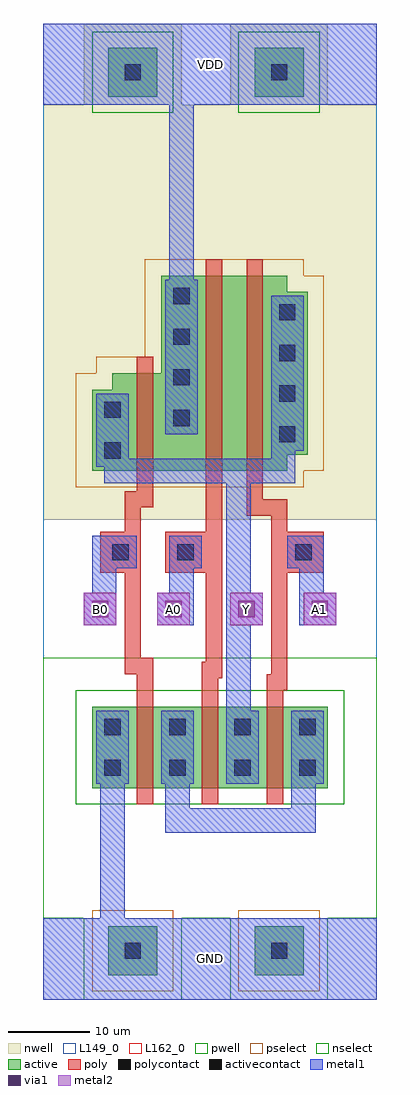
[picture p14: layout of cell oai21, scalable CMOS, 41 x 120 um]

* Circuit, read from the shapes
.subckt oai21 A0 A1 B0 GND VDD Y
M1 n1 B0 GND GND nfet w=10u l=2u
M2 Y A0 n1 GND nfet w=10u l=2u
M3 n1 A1 Y GND nfet w=10u l=2u
M4 VDD B0 Y VDD pfet w=12u l=2u
M5 n2 A0 VDD VDD pfet w=24u l=2u
M6 Y A1 n2 VDD pfet w=24u l=2u
.ends

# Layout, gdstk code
import gdstk
lib = gdstk.Library(unit=1e-6, precision=1e-09)
def R(c, l, rs):  # rectangles x0, y0, x1, y1
    for r in rs: c.add(gdstk.rectangle(r[:2], r[2:], *l))
def A(c, l, x, y, w, h, nx, ny, dx, dy):  # array of equal rectangles
    R(c, l, [(x+i*dx, y+j*dy, x+i*dx+w, y+j*dy+h) for i in range(nx) for j in range(ny)])
def P(c, l, *ps):  # polygons
    for p in ps: c.add(gdstk.Polygon(p, *l))
pwell = (41, 0)
nwell = (42, 0)
active = (43, 0)
pselect = (44, 0)
nselect = (45, 0)
poly = (46, 0)
polycontact = (47, 0)
activecontact = (48, 0)
metal1 = (49, 0)
via1 = (50, 0)
metal2 = (51, 0)
L149_0 = (149, 0)
L162_0 = (162, 0)

pwell_contact = lib.new_cell('pwell_contact')
R(pwell_contact, pwell, [(-6,-6,6,5)])
R(pwell_contact, active, [(-3,-3,3,3)])
R(pwell_contact, pselect, [(-5,-5,5,5)])
R(pwell_contact, activecontact, [(-1,-1,1,1)])

nwell_contact = lib.new_cell('nwell_contact')
R(nwell_contact, nwell, [(-6,-5,6,6)])
R(nwell_contact, active, [(-3,-3,3,3)])
R(nwell_contact, nselect, [(-5,-5,5,5)])
R(nwell_contact, activecontact, [(-1,-1,1,1)])

via = lib.new_cell('via')
R(via, metal1, [(-2,-2,2,2)])
R(via, via1, [(-1,-1,1,1)])
R(via, metal2, [(-2,-2,2,2)])

oai21 = lib.new_cell('oai21')
R(oai21, pwell, [(0,10,41,20), (0,10,41,42), (0,20,41,42)])
R(oai21, nwell, [(0,59,41,110), (0,95,41,110)])
P(oai21, nwell, [(0,59),(0,81),(2.5,81),(2.5,83),(8.5,83),(8.5,95),(36,95),(36,93),(38.5,93),(38.5,61),(36,61),(36,59)])
R(oai21, active, [(6,26,35,36)])
P(oai21, active, [(6,65),(6,75),(8.5,75),(8.5,77),(14.5,77),(14.5,89),(30,89),(30,87),(32.5,87),(32.5,67),(30,67),(30,65)])
P(oai21, pselect, [(4,63),(4,77),(6.5,77),(6.5,79),(12.5,79),(12.5,91),(32,91),(32,89),(34.5,89),(34.5,65),(32,65),(32,63)])
R(oai21, nselect, [(4,24,37,38)])
A(oai21, poly, 11.5, 24, 2, 2, 3, 2, 8, 12)
A(oai21, poly, 11.5, 26, 2, 10, 3, 1, 8, 0)
R(oai21, poly, [(7,52.5,12,57.5), (15,52.5,20,57.5), (29.5,52.5,34.5,57.5), (11.5,63,13.5,65), (20,63,22,65), (25,63,27,65), (11.5,65,13.5,77), (20,65,22,89), (25,65,27,89), (11.5,77,13.5,79), (20,89,22,91), (25,89,27,91)])
R(oai21, polycontact, [(8.5,54,10.5,56), (16.5,54,18.5,56), (31,54,33,56)])
A(oai21, activecontact, 7.5, 27.5, 2, 2, 4, 2, 8, 5)
A(oai21, activecontact, 29, 68.5, 2, 2, 1, 4, 0, 5)
A(oai21, activecontact, 16, 70.5, 2, 2, 1, 4, 0, 5)
R(oai21, activecontact, [(7.5,66.5,9.5,68.5), (7.5,71.5,9.5,73.5)])
A(oai21, metal1, 6.5, 26.5, 4, 9, 4, 1, 8, 0)
R(oai21, metal1, [(0,0,41,10), (0,0,41,10), (7.5,53,11.5,57), (15.5,53,19.5,57), (30,53,34,57), (6.5,65.5,10.5,74.5), (28,67.5,32,86.5), (15,69.5,19,88.5), (0,110,41,120), (0,110,41,120)])
A(oai21, metal2, 5, 46, 4, 4, 4, 1, 9, 0)
R(oai21, L149_0, [(0,0,41,10), (0,0,41,120), (7.5,53,11.5,57), (15.5,53,19.5,57), (30,53,34,57), (0,110,41,120)])
A(oai21, L162_0, 5, 46, 4, 4, 4, 1, 9, 0)
oai21.add(gdstk.FlexPath([(8.5,26.5),(8.5,10)], 3, ends="flush", simple_path=True, layer=149, datatype=0))  # L149_0
oai21.add(gdstk.FlexPath([(17,88.5),(17,110)], 3, ends="flush", simple_path=True, layer=149, datatype=0))  # L149_0
oai21.add(gdstk.FlexPath([(29.5,67.5),(29.5,65),(9,65),(9,65.5)], 3, ends="flush", simple_path=True, layer=149, datatype=0))  # L149_0
oai21.add(gdstk.FlexPath([(17,46),(17,53)], 3, ends="flush", simple_path=True, layer=149, datatype=0))  # L149_0
oai21.add(gdstk.FlexPath([(24,35.5),(24,63.5)], 3, ends="flush", simple_path=True, layer=149, datatype=0))  # L149_0
oai21.add(gdstk.FlexPath([(16.5,26.5),(16.5,22),(32,22),(32,26.5)], 3, ends="flush", simple_path=True, layer=149, datatype=0))  # L149_0
oai21.add(gdstk.FlexPath([(33,46),(33,57)], 3, ends="flush", simple_path=True, layer=149, datatype=0))  # L149_0
oai21.add(gdstk.FlexPath([(7.5,50),(7.5,57)], 3, ends="flush", simple_path=True, layer=149, datatype=0))  # L149_0
oai21.add(gdstk.FlexPath([(8.5,26.5),(8.5,10)], 3, ends="flush", simple_path=True, layer=49, datatype=0))  # metal1
oai21.add(gdstk.FlexPath([(17,88.5),(17,110)], 3, ends="flush", simple_path=True, layer=49, datatype=0))  # metal1
oai21.add(gdstk.FlexPath([(29.5,67.5),(29.5,65),(9,65),(9,65.5)], 3, ends="flush", simple_path=True, layer=49, datatype=0))  # metal1
oai21.add(gdstk.FlexPath([(17,46),(17,53)], 3, ends="flush", simple_path=True, layer=49, datatype=0))  # metal1
oai21.add(gdstk.FlexPath([(24,35.5),(24,63.5)], 3, ends="flush", simple_path=True, layer=49, datatype=0))  # metal1
oai21.add(gdstk.FlexPath([(16.5,26.5),(16.5,22),(32,22),(32,26.5)], 3, ends="flush", simple_path=True, layer=49, datatype=0))  # metal1
oai21.add(gdstk.FlexPath([(33,46),(33,57)], 3, ends="flush", simple_path=True, layer=49, datatype=0))  # metal1
oai21.add(gdstk.FlexPath([(7.5,50),(7.5,57)], 3, ends="flush", simple_path=True, layer=49, datatype=0))  # metal1
oai21.add(gdstk.FlexPath([(20.5,38),(20.5,40.5),(21,40.5),(21,63)], 2, ends="flush", simple_path=True, layer=46, datatype=0))  # poly
oai21.add(gdstk.FlexPath([(28.5,38),(28.5,39),(29,39),(29,60.5),(26,60.5),(26,63)], 2, ends="flush", simple_path=True, layer=46, datatype=0))  # poly
oai21.add(gdstk.FlexPath([(12.5,63),(12.5,61.5),(11,61.5),(11,41),(12.5,41),(12.5,38)], 2, ends="flush", simple_path=True, layer=46, datatype=0))  # poly
oai21.add(gdstk.Reference(pwell_contact, (29,6)))
oai21.add(gdstk.Reference(pwell_contact, (11,6)))
oai21.add(gdstk.Reference(nwell_contact, (29,114)))
oai21.add(gdstk.Reference(nwell_contact, (11,114)))
oai21.add(gdstk.Reference(via, (7,48)))
oai21.add(gdstk.Reference(via, (34,48)))
oai21.add(gdstk.Reference(via, (25,48)))
oai21.add(gdstk.Reference(via, (16,48)))
oai21.add(gdstk.Label('A0', (16,48), layer=3, texttype=0))
oai21.add(gdstk.Label('A1', (34,48), layer=3, texttype=0))
oai21.add(gdstk.Label('Y', (25,48), layer=3, texttype=0))
oai21.add(gdstk.Label('B0', (7,48), layer=3, texttype=0))
oai21.add(gdstk.Label('GND', (20.5,5), layer=2, texttype=0))
oai21.add(gdstk.Label('VDD', (20.5,115), layer=2, texttype=0))

lib.write_gds('oai21.gds')
